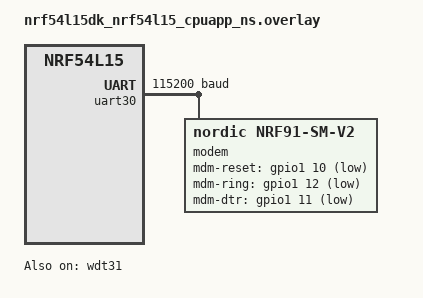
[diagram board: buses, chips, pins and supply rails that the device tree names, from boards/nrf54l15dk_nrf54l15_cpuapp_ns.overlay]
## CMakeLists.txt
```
#
# Copyright (c) 2026 Nordic Semiconductor ASA
#
# SPDX-License-Identifier: LicenseRef-Nordic-5-Clause
#

cmake_minimum_required(VERSION 3.20.0)

# Bundled nrf91-sm driver (see drivers/nrf91-sm/).
set(NRF91SM_DRIVER_DIR ${CMAKE_CURRENT_SOURCE_DIR}/drivers/nrf91-sm)
list(APPEND EXTRA_ZEPHYR_MODULES ${NRF91SM_DRIVER_DIR})

find_package(Zephyr REQUIRED HINTS $ENV{ZEPHYR_BASE})
project("Serial Modem Host - 91m1 PPP")

# Memfault CoAP includes unused nRF91 modem headers. Provide stubs on host MCU builds.
if(CONFIG_MEMFAULT_USE_NRF_CLOUD_COAP AND NOT CONFIG_NRF_MODEM_LIB)
	set(MEMFAULT_MODEM_SHIM ${CMAKE_CURRENT_SOURCE_DIR}/cmake/memfault-modem-shim)
	set(MEMFAULT_LIB_TARGET ..__modules__lib__memfault-firmware-sdk__ports__zephyr)
	if(TARGET ${MEMFAULT_LIB_TARGET})
		target_include_directories(${MEMFAULT_LIB_TARGET} BEFORE PRIVATE ${MEMFAULT_MODEM_SHIM})
	endif()
endif()

set(SMHA_LIB_DIR ${CMAKE_CURRENT_SOURCE_DIR}/../../lib)

zephyr_include_directories(
	${SMHA_LIB_DIR}/include
	${CMAKE_CURRENT_SOURCE_DIR}/src
)

target_sources(app PRIVATE
	src/main.c
	src/modem_reset.c
	src/modules/network/network.c
	src/modules/cloud/cloud.c
)

target_sources_ifdef(CONFIG_SHELL app PRIVATE src/modules/network/network_shell.c)
target_sources_ifdef(CONFIG_APP_MODEM_AT app PRIVATE src/modules/modem_at/modem_at.c)
target_sources_ifdef(CONFIG_APP_MODEM_AT_SHELL app PRIVATE src/modules/modem_at/modem_at_shell.c)
target_sources_ifdef(CONFIG_APP_FOTA app PRIVATE src/modules/fota/fota.c)
target_sources_ifdef(CONFIG_APP_FOTA_SHELL app PRIVATE src/modules/fota/fota_shell.c)
target_sources_ifdef(CONFIG_APP_LOCATION app PRIVATE
	src/modules/location/location.c
	src/modules/cloud/cloud_location.c
)
```

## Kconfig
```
#
# Copyright (c) 2026 Nordic Semiconductor ASA
#
# SPDX-License-Identifier: LicenseRef-Nordic-5-Clause
#

menu "Serial Modem Host 91m1_ppp"

rsource "src/Kconfig.main"
rsource "src/modules/network/Kconfig.network"
rsource "src/modules/cloud/Kconfig.cloud"
rsource "src/modules/fota/Kconfig.fota"
rsource "src/modules/modem_at/Kconfig.modem_at"
rsource "src/modules/location/Kconfig.location"

# Redefine symbol due to it being dependent on nRF Modem Library in the original definition.
config MEMFAULT_USE_NRF_CLOUD_COAP
	bool "Use nRF Cloud CoAP for device communication"
	default y

endmenu

menu "Zephyr Kernel"

# Keep Memfault-reported software_version aligned with the application VERSION file
# and the MCUboot image header (see Memfault NCS integration guide).
config MEMFAULT_NCS_FW_VERSION
	default "$(APP_VERSION_TWEAK_STRING)"

config MCUBOOT_IMGTOOL_SIGN_VERSION
	default MEMFAULT_NCS_FW_VERSION

source "Kconfig.zephyr"
endmenu
```

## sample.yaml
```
sample:
  name: Serial Modem Host 91m1 PPP
  description: Host application for nRF91M1 Smart Modem.
tests:
  serial_modem_host.applications.91m1_ppp.nrf54l15:
    sysbuild: true
    build_only: true
    integration_platforms:
      - nrf54l15dk/nrf54l15/cpuapp/ns
    platform_allow:
      - nrf54l15dk/nrf54l15/cpuapp/ns
    tags:
      - ci_build
  serial_modem_host.applications.91m1_ppp.nrf54lm20b:
    sysbuild: true
    build_only: true
    integration_platforms:
      - nrf54lm20dk/nrf54lm20b/cpuapp/ns
    platform_allow:
      - nrf54lm20dk/nrf54lm20b/cpuapp/ns
    tags:
      - ci_build
  serial_modem_host.applications.91m1_ppp.nrf54lm20b.location:
    sysbuild: true
    build_only: true
    integration_platforms:
      - nrf54lm20dk/nrf54lm20b/cpuapp/ns
    platform_allow:
      - nrf54lm20dk/nrf54lm20b/cpuapp/ns
    extra_args:
      - SHIELD=nrf7002eb2
      - EXTRA_CONF_FILE=overlay-location.conf
      - SB_EXTRA_CONF_FILE=sysbuild-location.conf
    tags:
      - ci_build
```

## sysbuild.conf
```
#
# Copyright (c) 2026 Nordic Semiconductor ASA
#
# SPDX-License-Identifier: LicenseRef-Nordic-5-Clause
#

# Use devicetree partitions (see boards/nrf54l15_cpuapp_mcuboot_partitions.dtsi).
SB_CONFIG_PARTITION_MANAGER=n
SB_CONFIG_BOOTLOADER_MCUBOOT=y
SB_CONFIG_MERGED_HEX_FILES=y
```

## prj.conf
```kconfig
#
# Copyright (c) 2026 Nordic Semiconductor ASA
#
# SPDX-License-Identifier: LicenseRef-Nordic-5-Clause
#

# --- General -------------------------------------------------------------------

CONFIG_NCS_APPLICATION_BOOT_BANNER_STRING="Serial Modem Host 91m1"
CONFIG_NCS_SAMPLES_DEFAULTS=y
CONFIG_RESET_ON_FATAL_ERROR=n
CONFIG_REBOOT=y
CONFIG_USE_DT_CODE_PARTITION=y

# MCUboot (primary on RRAM, secondary on external mx25r64)
CONFIG_BOOTLOADER_MCUBOOT=y
CONFIG_IMG_MANAGER=y
CONFIG_MCUBOOT_IMG_MANAGER=y
CONFIG_FLASH=y
CONFIG_FLASH_MAP=y
CONFIG_SPI=y
CONFIG_SPI_NOR=y
CONFIG_SPI_NOR_SFDP_DEVICETREE=y
CONFIG_SPI_NOR_FLASH_LAYOUT_PAGE_SIZE=4096
CONFIG_STREAM_FLASH=y
CONFIG_STREAM_FLASH_ERASE=y
CONFIG_MPU_ALLOW_FLASH_WRITE=y

CONFIG_FPU=y
CONFIG_PICOLIBC_IO_FLOAT=y

# --- Logging -------------------------------------------------------------------

CONFIG_LOG=y
CONFIG_LOG_MODE_DEFERRED=y
CONFIG_LOG_BUFFER_SIZE=4096

# --- RTOS / application framework ----------------------------------------------

CONFIG_ZBUS=y
CONFIG_ZBUS_MSG_SUBSCRIBER=y
# Every publish pins one net_buf per message subscriber until that module's thread
# dequeues it, and the pool is shared by all channels. A cloud request takes seconds
# over LTE, so Zephyr's default of 16 leaves room for only a couple of unserviced
# synchronisation cycles before a publish fails with -ENOMEM.
CONFIG_ZBUS_MSG_SUBSCRIBER_NET_BUF_POOL_SIZE=64
# Name channels and observers so a delivery failure says which ones were involved.
CONFIG_ZBUS_CHANNEL_NAME=y
CONFIG_ZBUS_OBSERVER_NAME=y
CONFIG_SMF=y
CONFIG_SMF_ANCESTOR_SUPPORT=y
CONFIG_SMF_INITIAL_TRANSITION=y
CONFIG_TASK_WDT=y
# Back the task watchdog with the non-secure hardware watchdog (wdt31, aliased watchdog0)
# as a fallback in case the task watchdog itself gets stuck.
CONFIG_WATCHDOG=y
CONFIG_TASK_WDT_MIN_TIMEOUT=10000

CONFIG_TEST_RANDOM_GENERATOR=y

# --- Heap and stacks -----------------------------------------------------------

CONFIG_HEAP_MEM_POOL_SIZE=16384
CONFIG_MAIN_STACK_SIZE=4096
CONFIG_SYSTEM_WORKQUEUE_STACK_SIZE=3072

# --- Application modules -------------------------------------------------------

CONFIG_APP_NETWORK=y
CONFIG_APP_NETWORK_LOG_LEVEL_DBG=y

CONFIG_APP_CLOUD=y
CONFIG_APP_CLOUD_LOG_LEVEL_DBG=y

CONFIG_APP_FOTA=y
CONFIG_APP_FOTA_SHELL=y
CONFIG_APP_FOTA_LOG_LEVEL_DBG=y

# --- Networking (PPP + conn_mgr) -----------------------------------------------

CONFIG_NETWORKING=y
CONFIG_NET_NATIVE=y
CONFIG_NET_L2_PPP=y
CONFIG_NET_L2_ETHERNET=n
CONFIG_NET_IPV4=y
CONFIG_NET_IPV6=n
CONFIG_NET_UDP=y
CONFIG_NET_TCP=y
CONFIG_NET_SOCKETS=y
CONFIG_NET_CONTEXT_RCVTIMEO=y
CONFIG_NET_MAX_CONN=12
CONFIG_NET_MAX_CONTEXTS=12
CONFIG_ZVFS_POLL_MAX=20
CONFIG_ZVFS_OPEN_MAX=20

CONFIG_NET_PKT_RX_COUNT=24
CONFIG_NET_PKT_TX_COUNT=24
CONFIG_NET_BUF_RX_COUNT=48
CONFIG_NET_BUF_TX_COUNT=48

CONFIG_DNS_RESOLVER=y
CONFIG_NET_SOCKETS_DNS_TIMEOUT=10000
CONFIG_DNS_RESOLVER_AI_MAX_ENTRIES=8
CONFIG_DNS_NUM_CONCUR_QUERIES=4
CONFIG_DNS_RESOLVER_MAX_SERVERS=4
CONFIG_DNS_SERVER_IP_ADDRESSES=y
CONFIG_DNS_SERVER1="8.8.8.8"
CONFIG_DNS_SERVER2="1.1.1.1"
CONFIG_NET_L2_PPP_OPTION_DNS_USE=y

CONFIG_NET_MGMT=y
CONFIG_NET_MGMT_EVENT=y
CONFIG_NET_CONNECTION_MANAGER=y
CONFIG_NET_CONNECTION_MANAGER_MONITOR_STACK_SIZE=512
CONFIG_NET_MGMT_EVENT_STACK_SIZE=800

# --- Cellular modem (nordic,nrf91-sm-v2; UART instance set in board overlay) ----

CONFIG_MODEM=y
CONFIG_MODEM_CELLULAR=y
CONFIG_MODEM_DEDICATED_WORKQUEUE=y
CONFIG_PM_DEVICE=y
CONFIG_PM_DEVICE_RUNTIME=y
CONFIG_PM_DEVICE_RUNTIME_USE_DEDICATED_WQ=y
CONFIG_MODEM_CMUX_MTU=127
CONFIG_MODEM_CMUX_WORK_BUFFER_SIZE_EXTRA=532
CONFIG_MODEM_CELLULAR_UART_BUFFER_SIZES=532

# `at "<command>"` over the user AT pipe (DLCI 3). Used to reach Serial Modem
# commands that have no host-side equivalent, such as AT#XLOG=1 to resume the
# modem log UART, which Serial Modem suspends after init to save power.
#
# App owns the user AT pipe (DLCI 3) via APP_MODEM_AT; stock AT shell off. The
# in-tree CONFIG_MODEM_AT_SHELL releases the pipe from its async script callback,
# which runs on the modem workqueue and calls modem_chat_release() ->
# k_work_cancel_sync() on that same workqueue's receive work: a self-deadlock
# that wedges CMUX and takes the PPP/CoAP link down. APP_MODEM_AT runs the script
# synchronously and releases from the caller thread instead.
CONFIG_APP_MODEM_AT=y
CONFIG_APP_MODEM_AT_LOG_LEVEL_ERR=y
CONFIG_MODEM_AT_SHELL=n
CONFIG_MODEM_AT_USER_PIPE_IDX=0

# --- Shell and TLS credentials -------------------------------------------------

CONFIG_SHELL=y
CONFIG_SHELL_STACK_SIZE=4096
# Off so shell wildcard expansion does not mangle `?`/`*` in AT commands.
CONFIG_SHELL_WILDCARD=n
# Kernel shell with thread introspection. The `kernel thread suspend` command is used by
# the on-target software-watchdog test to stall a monitored thread and trip its watchdog.
CONFIG_KERNEL_SHELL=y
CONFIG_THREAD_MONITOR=y
CONFIG_THREAD_NAME=y
CONFIG_NET_SHELL=y
CONFIG_TLS_CREDENTIALS=y
CONFIG_TLS_CREDENTIALS_SHELL=y
CONFIG_TLS_CREDENTIALS_SHELL_CRED_BUF_SIZE=3072
CONFIG_TLS_CREDENTIALS_BACKEND_PROTECTED_STORAGE=y
# nRF Cloud credentials (CA, client cert, private key) in protected storage.
CONFIG_TLS_MAX_CREDENTIALS_NUMBER=4
CONFIG_TFM_PARTITION_PROTECTED_STORAGE=y
CONFIG_BASE64=y
CONFIG_SETTINGS=y
CONFIG_SETTINGS_NVS=y
CONFIG_NVS=y

# --- nRF Cloud CoAP (host-native over PPP) -------------------------------------

CONFIG_NRF_CLOUD=y
CONFIG_NRF_CLOUD_COAP=y
CONFIG_NRF_CLOUD_COAP_DOWNLOADS=y
CONFIG_NRF_CLOUD_CHECK_CREDENTIALS=y
CONFIG_NRF_CLOUD_CREDENTIALS_MGMT_TLS_CRED=y
CONFIG_NRF_CLOUD_JWT_SOURCE_CUSTOM=y

CONFIG_HW_ID_LIBRARY=y
CONFIG_HW_ID_LIBRARY_SOURCE_DEVICE_ID=y
CONFIG_NRF_CLOUD_CLIENT_ID_SRC_HW_ID=y

CONFIG_COAP_CLIENT_BLOCK_SIZE=1024
CONFIG_COAP_CLIENT_STACK_SIZE=4096
CONFIG_COAP_CLIENT_THREAD_PRIORITY=0
CONFIG_COAP_EXTENDED_OPTIONS_LEN_VALUE=192
CONFIG_NRF_CLOUD_COAP_MAX_USER_OPTIONS=2
CONFIG_COAP_CLIENT_MAX_EXTRA_OPTIONS=3

# nrf_cloud_coap serialises every request behind one mutex and waits for the CoAP
# client to exhaust its retransmissions, so a dropped confirmable request blocks
# the whole application. The default budget (2 s, doubling, 4 retransmissions,
# 1.5x jitter) reaches ~93 s, far longer than the cloud synchronisation period.
# ZBUS_MSG_SUBSCRIBER_NET_BUF_POOL_SIZE=64 above gives headroom for a few blocked
# cycles; two retransmissions cap that wait at ~21 s. FOTA block downloads use the
# downloader CoAP transport, which keeps its own retransmission budget.
CONFIG_COAP_MAX_RETRANSMIT=2

CONFIG_DATE_TIME=y
CONFIG_DATE_TIME_NTP=y
CONFIG_DATE_TIME_RETRY_COUNT=3

# --- Memfault ------------------------------------------------------------------

# Memfault depends on POSIX, disable unneeded POSIX features
CONFIG_POSIX_FILE_SYSTEM=n

# Memfault
CONFIG_MEMFAULT=y
CONFIG_MEMFAULT_NCS_FW_TYPE="smha-91m1"
CONFIG_MEMFAULT_NCS_FW_VERSION_STATIC=y
CONFIG_MEMFAULT_SHELL=y
CONFIG_MEMFAULT_PERIODIC_UPLOAD=n
CONFIG_MEMFAULT_LOGGING_ENABLE=y
CONFIG_MEMFAULT_LOGGING_RAM_SIZE=2048
CONFIG_MEMFAULT_NCS_STACK_METRICS=y
CONFIG_MEMFAULT_HEAP_STATS=y

# Upload Memfault data via nRF Cloud CoAP (reuses the cloud DTLS session + host JWT).
CONFIG_MEMFAULT_USE_NRF_CLOUD_COAP=y
CONFIG_MEMFAULT_HTTP_ENABLE=n

# Capture the active stack, kernel state and thread stacks (enough for a
# symbolicated, thread-aware backtrace) but skip .bss: collecting all of it
# overflows the RAM-backed buffer, which Memfault reports as "Coredump storage
# too small".

# RAM-backed coredump. The RRAM backend is unusable here: it depends on
# NRFX_RRAMC and pokes RRAMC registers directly, and TF-M owns that peripheral
# in non-secure builds. Sized to hold the collected regions without truncation;
# confirm with `mflt coredump_size` if regions change. nRF54L15 has no RAM to
# spare for a bigger buffer, so boards that do raise this option does so in their own .conf.
CONFIG_MEMFAULT_RAM_BACKED_COREDUMP_SIZE=8192
CONFIG_PSA_WANT_ALG_SHA_1=y

# FOTA (Memfault OTA via nRF Cloud CoAP download proxy)
CONFIG_MEMFAULT_ZEPHYR_FOTA_BACKEND_NRF_CLOUD_OVERRIDE=y
CONFIG_NRF_CLOUD_FOTA=n
CONFIG_NRF_CLOUD_FOTA_POLL=y
CONFIG_DOWNLOADER=y
CONFIG_DOWNLOADER_TRANSPORT_COAP=y
CONFIG_DOWNLOADER_TRANSPORT_HTTP=n
CONFIG_DOWNLOADER_STACK_SIZE=4096
CONFIG_DOWNLOADER_MAX_FILENAME_SIZE=512
CONFIG_FOTA_DOWNLOAD=y
CONFIG_FOTA_DOWNLOAD_PROGRESS_EVT=y
CONFIG_FOTA_SOCKET_RETRIES=10
CONFIG_DFU_TARGET=y
CONFIG_DFU_TARGET_MCUBOOT=y
CONFIG_FOTA_DOWNLOAD_LOG_LEVEL_INF=y

# --- Crypto (host JWT signing + CoAP DTLS over native sockets) -----------------

CONFIG_NET_SOCKETS_SOCKOPT_TLS=y
CONFIG_NET_SOCKETS_ENABLE_DTLS=y
CONFIG_NET_SOCKETS_TLS_MAX_CONTEXTS=2
CONFIG_NET_SOCKETS_TLS_MAX_CREDENTIALS=4
CONFIG_MBEDTLS_SSL_DTLS_CONNECTION_ID=y
CONFIG_MBEDTLS_SSL_SERVER_NAME_INDICATION=y
CONFIG_MBEDTLS_SSL_IN_CONTENT_LEN=2048
CONFIG_MBEDTLS_SSL_OUT_CONTENT_LEN=2048
CONFIG_MBEDTLS_PEM_PARSE_C=y
CONFIG_MBEDTLS_DECLARE_PRIVATE_IDENTIFIERS=y
# ECC crypto via PSA.
CONFIG_PSA_WANT_ALG_ECDH=y
CONFIG_PSA_WANT_ALG_ECDSA=y
CONFIG_PSA_WANT_ECC_SECP_R1_256=y
CONFIG_PSA_WANT_ECC_SECP_R1_384=y
CONFIG_PSA_WANT_KEY_TYPE_ECC_KEY_PAIR_EXPORT=y
CONFIG_PSA_WANT_KEY_TYPE_ECC_KEY_PAIR_GENERATE=y
CONFIG_PSA_WANT_KEY_TYPE_ECC_KEY_PAIR_DERIVE=y
# RSA verification for the nRF Cloud CA chain.
CONFIG_PSA_WANT_ALG_RSA_PKCS1V15_SIGN=y
CONFIG_PSA_WANT_KEY_TYPE_RSA_PUBLIC_KEY=y
# RSA key pair type for the ECDHE-RSA download ciphersuite.
CONFIG_PSA_WANT_KEY_TYPE_RSA_KEY_PAIR_IMPORT=y

CONFIG_MBEDTLS=y
CONFIG_MBEDTLS_ENABLE_HEAP=y
CONFIG_MBEDTLS_HEAP_SIZE=24576
```

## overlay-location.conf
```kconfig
#
# Copyright (c) 2026 Nordic Semiconductor ASA
#
# SPDX-License-Identifier: LicenseRef-Nordic-5-Clause
#
# Wi-Fi based location using the nRF7002-EB2 shield. Requires the matching
# sysbuild overlay to build the nRF70 driver in scan only mode:
#
#   west build -b nrf54lm20dk/nrf54lm20b/cpuapp/ns -p -- \
#       -DSHIELD=nrf7002eb2 \
#       -DEXTRA_CONF_FILE=overlay-location.conf \
#       -DSB_EXTRA_CONF_FILE=sysbuild-location.conf

# EB2 shield build; console already on uart30 (VCOM0) from the board overlay.
CONFIG_UART_30_INTERRUPT_DRIVEN=y
CONFIG_UART_30_ASYNC=n

# --- Wi-Fi (nRF7002-EB2, scan only) --------------------------------------------

# The nRF70 driver itself is enabled from sysbuild, see sysbuild-location.conf.
CONFIG_WIFI=y
CONFIG_WIFI_NM_WPA_SUPPLICANT=n
CONFIG_WIFI_NRF70_SKIP_LOCAL_ADMIN_MAC=y
# Keep aligned with CONFIG_LOCATION_METHOD_WIFI_SCANNING_RESULTS_MAX_CNT.
CONFIG_NRF_WIFI_SCAN_MAX_BSS_CNT=10
CONFIG_NRF_WIFI_CTRL_HEAP_SIZE=10240
CONFIG_HEAP_MEM_POOL_SIZE=28672

# The nRF70 interface is an Ethernet L2 interface. PPP remains the default
# interface so that sockets keep using the Serial Modem.
CONFIG_NET_L2_ETHERNET=y
CONFIG_NET_DEFAULT_IF_PPP=y

# One IPv4 config slot per interface. The slots are handed out in interface
# registration order, so with the default of 1 the Wi-Fi interface takes the
# only slot and PPP never gets an address from IPCP.
CONFIG_NET_IF_MAX_IPV4_COUNT=2

# Wi-Fi scan results are delivered as network management events.
CONFIG_NET_MGMT_EVENT_QUEUE_SIZE=16
CONFIG_NET_MGMT_EVENT_STACK_SIZE=2048

# --- Location (Wi-Fi positioning via nRF Cloud) --------------------------------

CONFIG_LOCATION=y
CONFIG_LOCATION_METHOD_WIFI=y
CONFIG_LOCATION_SERVICE_EXTERNAL=y
CONFIG_LOCATION_METHOD_WIFI_SCANNING_RESULTS_MAX_CNT=10
CONFIG_LOCATION_REQUEST_DEFAULT_WIFI_TIMEOUT=30000
CONFIG_APP_LOCATION_LOG_LEVEL_DBG=y
```

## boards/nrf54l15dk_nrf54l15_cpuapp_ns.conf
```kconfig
#
# Copyright (c) 2026 Nordic Semiconductor ASA
#
# SPDX-License-Identifier: LicenseRef-Nordic-5-Clause
#

CONFIG_UART_ASYNC_API=y
CONFIG_MODEM_BACKEND_UART_ASYNC_HWFC=y

# Shell/console on uart20 uses interrupt-driven UART; modem on uart30 is async-only.
CONFIG_UART_30_INTERRUPT_DRIVEN=n
CONFIG_UART_30_ASYNC=y

# Silence TF-M logs to avoid conflicts with modem UART.
CONFIG_TFM_LOG_LEVEL_SILENCE=y

CONFIG_MODEM_CMUX_MSC_FC_THRESHOLD=32

# SFN + MM-IOVEC reduce secure-side RAM; ITS encryption
# is disabled because credentials live in Protected Storage, not ITS.
CONFIG_TFM_SFN=y
CONFIG_TFM_IPC=n
CONFIG_TFM_PSA_FRAMEWORK_HAS_MM_IOVEC=y
CONFIG_TFM_ITS_ENCRYPTED=n

# TF-M FLASH/RAM sizes come from the devicetree secure partitions
# (slot0_s_partition and sram0_s in boards/nrf54l15_cpuapp_ns_partitions.dtsi).
```

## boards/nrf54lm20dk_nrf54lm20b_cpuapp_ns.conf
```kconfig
#
# Copyright (c) 2026 Nordic Semiconductor ASA
#
# SPDX-License-Identifier: LicenseRef-Nordic-5-Clause
#
# nRF54LM20B DK: console on uart30 (VCOM0), modem on uart21.

CONFIG_UART_ASYNC_API=y
CONFIG_MODEM_BACKEND_UART_ASYNC_HWFC=y

# Shell/console on uart30 uses interrupt-driven UART; modem on uart21 is async-only.
CONFIG_UART_30_INTERRUPT_DRIVEN=y
CONFIG_UART_21_INTERRUPT_DRIVEN=n
CONFIG_UART_21_ASYNC=y

CONFIG_TFM_LOG_LEVEL_SILENCE=y

CONFIG_MODEM_CMUX_MSC_FC_THRESHOLD=32
CONFIG_MODEM_MODULES_LOG_LEVEL_WRN=y
CONFIG_LOG_BUFFER_SIZE=8192

CONFIG_TFM_SFN=y
CONFIG_TFM_IPC=n
CONFIG_TFM_PSA_FRAMEWORK_HAS_MM_IOVEC=y
CONFIG_TFM_ITS_ENCRYPTED=n

# TF-M FLASH/RAM sizes come from the devicetree secure partitions
# (slot0_s_partition and sram0_s in boards/nrf54lm20_cpuapp_ns_partitions.dtsi).

# The NCS default hardware version is the board name, but "nrf54lm20dk" is already
# bound to another software type in the shared Memfault project, which makes it reject
# OTA payloads for "smha-91m1". Namespace the hardware version to keep FOTA working.
CONFIG_MEMFAULT_NCS_HW_VERSION="smha-nrf54lm20dk"

# Increase the RAM-backed coredump buffer to avoid truncating thread stacks in coredumps.
CONFIG_MEMFAULT_RAM_BACKED_COREDUMP_SIZE=32768
```

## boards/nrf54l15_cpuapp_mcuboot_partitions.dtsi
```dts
/*
 * Copyright (c) 2026 Nordic Semiconductor ASA
 *
 * SPDX-License-Identifier: LicenseRef-Nordic-5-Clause
 *
 * RRAM layout (cpuapp_rram, 1.5 MiB internal):
 * |
 * +-- 0x0000_0000 boot_partition              (  64 KiB) MCUboot
 * |
 * +-- 0x0001_0000 slot0_partition             (1356 KiB) image-0
 * |   +-- 0x0001_0000 slot0_s_partition       ( 128 KiB) TF-M secure
 * |   +-- 0x0003_0000 slot0_ns_partition      (1232 KiB) Zephyr/app non-secure
 * |
 * +-- 0x0016_3000 storage_partition           (  40 KiB) Zephyr settings
 * +-- 0x0016_d000 memfault_coredump_partition (  32 KiB) Memfault coredump (RRAM)
 * |
 * +-- 0x0017_5000 tfm_storage_partition       (  32 KiB) TF-M storage
 * |   +-- 0x0017_5000 tfm_its_partition       (   8 KiB) TF-M ITS
 * |   +-- 0x0017_7000 tfm_otp_partition       (   8 KiB) TF-M OTP
 * |   +-- 0x0017_9000 tfm_ps_partition        (  16 KiB) TF-M PS
 * |
 * +-- 0x0017_d000 (reserved, unused)          (  12 KiB) free at end of RRAM
 *
 * External flash layout (mx25r64, 8 MiB):
 * |
 * +-- 0x0000_0000 slot1_partition             (1356 KiB) image-1 (matches slot0 for MCUboot)
 * +-- 0x0015_3000 (remaining flash)           (~6.6 MiB) unused external flash
 *
 * Include after deleting the board default partition nodes.
 */

&cpuapp_rram {
	partitions {
		ranges;
		#address-cells = <1>;
		#size-cells = <1>;

		boot_partition: partition@0 {
			compatible = "zephyr,mapped-partition";
			label = "mcuboot";
			reg = <0x0 0x10000>;
		};

		slot0_partition: partition@10000 {
			compatible = "zephyr,mapped-partition";
			label = "image-0";
			reg = <0x10000 0x153000>;
			ranges = <0x0 0x10000 0x153000>;
			#address-cells = <1>;
			#size-cells = <1>;

			slot0_s_partition: partition@0 {
				compatible = "zephyr,mapped-partition";
				label = "image-0-secure";
				reg = <0x0 0x20000>;
			};

			slot0_ns_partition: partition@20000 {
				compatible = "zephyr,mapped-partition";
				label = "image-0-nonsecure";
				reg = <0x20000 0x133000>;
			};
		};

		storage_partition: partition@163000 {
			compatible = "zephyr,mapped-partition";
			label = "storage";
			reg = <0x163000 DT_SIZE_K(40)>;
		};

		memfault_coredump_partition: partition@16d000 {
			compatible = "zephyr,mapped-partition";
			label = "memfault_coredump_partition";
			reg = <0x16d000 DT_SIZE_K(32)>;
		};

		tfm_storage_partition: partition@175000 {
			compatible = "zephyr,mapped-partition";
			label = "tfm-storage";
			reg = <0x175000 DT_SIZE_K(32)>;
			ranges = <0x0 0x175000 DT_SIZE_K(32)>;
			#address-cells = <1>;
			#size-cells = <1>;

			tfm_its_partition: partition@0 {
				compatible = "zephyr,mapped-partition";
				label = "tfm-its";
				reg = <0x0 DT_SIZE_K(8)>;
			};

			tfm_otp_partition: partition@2000 {
				compatible = "zephyr,mapped-partition";
				label = "tfm-otp";
				reg = <0x2000 DT_SIZE_K(8)>;
			};

			tfm_ps_partition: partition@4000 {
				compatible = "zephyr,mapped-partition";
				label = "tfm-ps";
				reg = <0x4000 DT_SIZE_K(16)>;
			};
		};
	};
};

&mx25r64 {
	status = "okay";

	partitions {
		compatible = "fixed-partitions";
		#address-cells = <1>;
		#size-cells = <1>;

		slot1_partition: partition@0 {
			label = "image-1";
			reg = <0x0 0x153000>;
		};
	};
};
```

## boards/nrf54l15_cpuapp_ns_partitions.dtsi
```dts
/*
 * Copyright (c) 2026 Nordic Semiconductor ASA
 *
 * SPDX-License-Identifier: LicenseRef-Nordic-5-Clause
 *
 * SRAM layout (cpuapp_sram, 256 KiB):
 * |
 * +-- 0x0000_0000 sram0_s                     (  48 KiB) TF-M secure
 * +-- 0x0000_c000 sram0_ns                    ( 208 KiB) Zephyr/app non-secure
 *
 * RRAM and external flash layout: see nrf54l15_cpuapp_mcuboot_partitions.dtsi.
 * Memory-optimized SFN TF-M sizing (see board conf).
 */

/delete-node/ &slot0_partition;
/delete-node/ &storage_partition;
/delete-node/ &slot0_ns_partition;
/delete-node/ &tfm_its_partition;
/delete-node/ &tfm_otp_partition;
/delete-node/ &tfm_ps_partition;
/delete-node/ &sram0_s;
/delete-node/ &sram0_ns;

#include "nrf54l15_cpuapp_mcuboot_partitions.dtsi"

&cpuapp_sram {
	sram0_s: image_s@0 {
		#address-cells = <1>;
		#size-cells = <1>;
		reg = <0x0 0xC000>;
		ranges = <0x0 0x0 0xC000>;
	};

	sram0_ns: image_ns@c000 {
		#address-cells = <1>;
		#size-cells = <1>;
		reg = <0xC000 0x34000>;
		ranges = <0x0 0xC000 0x34000>;
	};
};
```

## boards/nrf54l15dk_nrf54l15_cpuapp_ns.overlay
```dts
/*
 * Copyright (c) 2026 Nordic Semiconductor ASA
 *
 * SPDX-License-Identifier: LicenseRef-Nordic-5-Clause
 *
 * Based on ncs-serial-modem samples/sm_ppp_shell for nRF54L15 DK + nRF9151 DK.
 * Disable VCOM0 in Board Configurator to release uart30 (P0 connector).
 *
 * Two-DK wiring (in addition to UART/DTR/RI from sm_ppp_shell):
 *   nRF54L15 P1.10 (modem reset out) -> nRF9151 DK P5 pin 5 (RESET)
 *   Set matching VDD on both DKs in Board Configurator (typically 1.8 V).
 *
 * RRAM/SRAM partitions: nrf54l15_cpuapp_ns_partitions.dtsi (MCUboot + TF-M).
 */

#include "nrf54l15_cpuapp_ns_partitions.dtsi"

/ {
	chosen {
		zephyr,console = &uart20;
		zephyr,shell-uart = &uart20;
		nordic,pm-ext-flash = &mx25r64;
	};
	aliases {
		modem = &modem;
	};
};

&uart30 {
	status = "okay";
	current-speed = <115200>;
	hw-flow-control;
	zephyr,pm-device-runtime-auto;

	modem: modem {
		compatible = "nordic,nrf91-sm-v2";
		status = "okay";
		mdm-reset-gpios = <&gpio1 10 (GPIO_ACTIVE_LOW | GPIO_OPEN_DRAIN)>;
		mdm-ring-gpios = <&gpio1 12 (GPIO_ACTIVE_LOW | GPIO_PULL_UP)>;
		mdm-dtr-gpios = <&gpio1 11 GPIO_ACTIVE_LOW>;
		zephyr,pm-device-runtime-auto;
		autostarts;
	};
};

&gpio1 {
	status = "okay";
};

/* Non-secure hardware watchdog, fallback for CONFIG_TASK_WDT_HW_FALLBACK. */
&wdt31 {
	status = "okay";
};
```

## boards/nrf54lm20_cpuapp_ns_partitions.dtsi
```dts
/*
 * Copyright (c) 2026 Nordic Semiconductor ASA
 *
 * SPDX-License-Identifier: LicenseRef-Nordic-5-Clause
 *
 * SRAM layout (cpuapp_sram, 508 KiB usable):
 * |
 * +-- 0x0000_0000 sram0_s                     (  48 KiB) TF-M secure
 * +-- 0x0000_c000 sram0_ns                    ( 460 KiB) Zephyr/app non-secure
 *
 * RRAM and external flash layout: see nrf54lm20_cpuapp_mcuboot_partitions.dtsi.
 * Memory-optimized SFN TF-M sizing (see board conf).
 */

/delete-node/ &slot0_s_partition;
/delete-node/ &storage_partition;
/delete-node/ &slot0_ns_partition;
/delete-node/ &tfm_its_partition;
/delete-node/ &tfm_otp_partition;
/delete-node/ &tfm_ps_partition;
/delete-node/ &sram0_s;
/delete-node/ &sram0_ns;

#include "nrf54lm20_cpuapp_mcuboot_partitions.dtsi"

&cpuapp_sram {
	reg = <0x20000000 0x7fe40>;
	ranges = <0x0 0x20000000 0x7fe40>;

	sram0_s: image_s@0 {
		#address-cells = <1>;
		#size-cells = <1>;
		reg = <0x0 0xC000>;
		ranges = <0x0 0x0 0xC000>;
	};

	sram0_ns: image_ns@c000 {
		#address-cells = <1>;
		#size-cells = <1>;
		reg = <0xC000 0x73e40>;
		ranges = <0x0 0xC000 0x73e40>;
	};
};
```

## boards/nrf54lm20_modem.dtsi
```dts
/*
 * Copyright (c) 2026 Nordic Semiconductor ASA
 *
 * SPDX-License-Identifier: LicenseRef-Nordic-5-Clause
 *
 * Shared Serial Modem child node for nRF54LM20B DK + nRF9151 DK wiring.
 * Control signals on P1 connector; UART instance is set by the board overlay.
 */

modem: modem {
	compatible = "nordic,nrf91-sm-v2";
	status = "okay";
	mdm-reset-gpios = <&gpio1 10 (GPIO_ACTIVE_LOW | GPIO_OPEN_DRAIN)>;
	mdm-ring-gpios = <&gpio1 12 (GPIO_ACTIVE_LOW | GPIO_PULL_UP)>;
	mdm-dtr-gpios = <&gpio1 11 GPIO_ACTIVE_LOW>;
	zephyr,pm-device-runtime-auto;
	cmux-enable-runtime-power-save;
	cmux-close-pipe-on-power-save;
	cmux-idle-timeout-ms = <5000>;
	autostarts;
};
```

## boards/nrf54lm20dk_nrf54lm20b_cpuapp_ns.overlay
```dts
/*
 * Copyright (c) 2026 Nordic Semiconductor ASA
 *
 * SPDX-License-Identifier: LicenseRef-Nordic-5-Clause
 *
 * nRF54LM20B DK + nRF9151 DK.
 *
 * Default build (no shield):
 *   west build -b nrf54lm20dk/nrf54lm20b/cpuapp/ns -p
 *
 * Console uses uart30 (VCOM0) so plain and nRF7002-EB2 builds share the same
 * USB serial port. Modem stays on uart21 (P1).
 *
 * The Serial Modem link uses uart21 on P1.8–P1.9 (TX/RX) and P1.23–P1.24
 * (RTS/CTS). DTR/RI/reset use P1.11/P1.12/P1.10 (conflict with DK default
 * uart21 HWFC).
 *
 * With nRF7002-EB2 on P18 (Wi-Fi location), pass -DSHIELD=nrf7002eb2 and disable
 * VCOM1 in Board Configurator (uart20 pins conflict with the shield).
 *
 * Set matching VDD on both DKs (typically 1.8 V).
 *
 * Wiring: see docs/getting-started/91m1-ppp.md.
 *
 * RRAM/SRAM partitions: nrf54lm20_cpuapp_ns_partitions.dtsi (MCUboot + TF-M).
 */

#include "nrf54lm20_cpuapp_ns_partitions.dtsi"

/ {
	chosen {
		zephyr,console = &uart30;
		zephyr,shell-uart = &uart30;
		nordic,pm-ext-flash = &mx25r64;
	};

	aliases {
		modem = &modem;
	};
};

&uart30 {
	status = "okay";
	current-speed = <115200>;
};

&pinctrl {
	uart21_default: uart21_default {
		group1 {
			psels = <NRF_PSEL(UART_TX, 1, 8)>,
				<NRF_PSEL(UART_RTS, 1, 23)>;
		};

		group2 {
			psels = <NRF_PSEL(UART_RX, 1, 9)>,
				<NRF_PSEL(UART_CTS, 1, 24)>;
			bias-pull-up;
		};
	};

	uart21_sleep: uart21_sleep {
		group1 {
			psels = <NRF_PSEL(UART_TX, 1, 8)>,
				<NRF_PSEL(UART_RX, 1, 9)>,
				<NRF_PSEL(UART_RTS, 1, 23)>,
				<NRF_PSEL(UART_CTS, 1, 24)>;
			low-power-enable;
		};
	};
};

&uart21 {
	status = "okay";
	current-speed = <115200>;
	pinctrl-0 = <&uart21_default>;
	pinctrl-1 = <&uart21_sleep>;
	pinctrl-names = "default", "sleep";
	hw-flow-control;
	zephyr,pm-device-runtime-auto;

	#include "nrf54lm20_modem.dtsi"
};

&gpio1 {
	status = "okay";
};

/* Non-secure hardware watchdog, fallback for CONFIG_TASK_WDT_HW_FALLBACK. */
&wdt31 {
	status = "okay";
};
```

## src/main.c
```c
/*
 * Copyright (c) 2026 Nordic Semiconductor ASA
 *
 * SPDX-License-Identifier: LicenseRef-Nordic-5-Clause
 */

#include <zephyr/kernel.h>
#include <zephyr/logging/log.h>
#include <zephyr/logging/log_ctrl.h>
#include <zephyr/zbus/zbus.h>
#include <zephyr/task_wdt/task_wdt.h>
#include <zephyr/smf.h>
#include <zephyr/sys/reboot.h>
#include <date_time.h>
#include <stdio.h>

#include "app_common.h"
#include "modules/network/network.h"
#include "modules/cloud/cloud.h"

#if defined(CONFIG_APP_FOTA)
#include "modules/fota/fota.h"
#endif /* CONFIG_APP_FOTA */

#if defined(CONFIG_APP_LOCATION)
#include "modules/location/location.h"
#endif /* CONFIG_APP_LOCATION */

LOG_MODULE_REGISTER(main, CONFIG_APP_MAIN_LOG_LEVEL);

BUILD_ASSERT(CONFIG_APP_MAIN_WATCHDOG_TIMEOUT_SECONDS >
	     CONFIG_APP_MAIN_MSG_PROCESSING_TIMEOUT_SECONDS,
	     "Watchdog timeout must be greater than maximum message processing time");

ZBUS_MSG_SUBSCRIBER_DEFINE(main_subscriber);

/* Private channel message types for internal state management. */
enum priv_main_msg_type {
	MAIN_PRIV_CLOUD_SYNCHRONIZATION,
};

struct priv_main_msg {
	enum priv_main_msg_type type;
};

ZBUS_CHAN_DEFINE(main_priv_chan,
		 struct priv_main_msg,
		 NULL,
		 NULL,
		 ZBUS_OBSERVERS_EMPTY,
		 ZBUS_MSG_INIT(0)
);

/* Define the channels that the module subscribes to, their associated message types
 * and the subscriber that will receive the messages on the channel.
 */
#define CHANNEL_LIST(X) \
	X(network_chan, struct network_msg) \
	X(cloud_chan, struct cloud_msg) \
	IF_ENABLED(CONFIG_APP_FOTA, (X(fota_chan, struct fota_msg))) \
	IF_ENABLED(CONFIG_APP_LOCATION, (X(location_chan, struct location_msg))) \
	X(main_priv_chan, struct priv_main_msg)

/* Calculate the maximum message size from the list of channels */
#define MAX_MSG_SIZE		    MAX_MSG_SIZE_FROM_LIST(CHANNEL_LIST)

/* Add main_subscriber as observer to all the channels in the list. */
#define ADD_OBSERVERS(_chan, _type) ZBUS_CHAN_ADD_OBS(_chan, main_subscriber, 0);

/* Expand to a call to ZBUS_CHAN_ADD_OBS for each channel in the list. */
CHANNEL_LIST(ADD_OBSERVERS)

/** Demo cloud payload template */
#define DEMO_CLOUD_PAYLOAD_FMT \
	"{\"appId\":\"SMHA\",\"messageType\":\"DATA\",\"data\":\"hello\",\"timestamp\":%lld}"

/** Application SMF states. */
enum main_app_state {
	/**
	 * Top-level state.
	 * The initial substate is @ref STATE_CLOUD_DISCONNECTED.
	 */
	STATE_RUNNING,
		/**
		 * Cloud is not connected. Periodic cloud synchronization is not
		 * scheduled, and synchronization triggers are ignored.
		 */
		STATE_CLOUD_DISCONNECTED,
		/**
		 * Cloud is connected. Periodic synchronization is scheduled on the
		 * dedicated cloud-sync workqueue.
		 *
		 * The initial substate is @ref STATE_SYNC_IDLE. Each synchronization
		 * advances through the sync substates in order, waiting for each step
		 * to complete before starting the next.
		 */
		STATE_CLOUD_CONNECTED,
			/** Waiting for the next synchronization trigger. */
			STATE_SYNC_IDLE,
			/** Sending the demo cloud payload. */
			STATE_SYNC_DEMO,
#if defined(CONFIG_APP_LOCATION)
			/** Scanning for Wi-Fi access points and resolving location. */
			STATE_SYNC_LOCATION,
#endif /* CONFIG_APP_LOCATION */
			/** Polling the device shadow. */
			STATE_SYNC_SHADOW,
#if defined(CONFIG_APP_FOTA)
			/** Polling for a FOTA job. */
			STATE_SYNC_FOTA,
#endif /* CONFIG_APP_FOTA */
			/** Posting pending Memfault data. */
			STATE_SYNC_MEMFAULT,
#if defined(CONFIG_APP_FOTA)
		/**
		 * A FOTA download is in progress. Cloud state at entry is saved in
		 * @ref main_state::cloud_history for restore on @ref FOTA_ABORTED.
		 */
		STATE_FOTA,
	/**
	 * FOTA completed; application cleanup runs before reboot.
	 */
	STATE_REBOOTING,
#endif /* CONFIG_APP_FOTA */
};

/* State object for the main module.
 * Used to transfer data between state changes.
 */
struct main_state {
	struct smf_ctx ctx;
	const struct zbus_channel *chan;
	uint8_t msg_buf[MAX_MSG_SIZE];
	struct k_work_delayable cloud_sync_dwork;
	/** Cloud state to restore after @ref FOTA_ABORTED. */
	enum main_app_state cloud_history;
};

static struct main_state main_state;
static const struct smf_state states[];

/** Cloud synchronization workqueue */
static K_THREAD_STACK_DEFINE(cloud_sync_workq_stack,
			     CONFIG_APP_MAIN_CLOUD_SYNC_WORKQ_STACK_SIZE);
static struct k_work_q cloud_sync_workq;

/** Forward declarations */

static void state_running_entry(void *obj);
static enum smf_state_result state_running_run(void *obj);
static void state_cloud_disconnected_entry(void *obj);
static enum smf_state_result state_cloud_disconnected_run(void *obj);
static void state_cloud_disconnected_exit(void *obj);
static void state_cloud_connected_entry(void *obj);
static enum smf_state_result state_cloud_connected_run(void *obj);
static void state_cloud_connected_exit(void *obj);
static void state_sync_idle_entry(void *obj);
static enum smf_state_result state_sync_idle_run(void *obj);
static void state_sync_demo_entry(void *obj);
static enum smf_state_result state_sync_demo_run(void *obj);

#if defined(CONFIG_APP_LOCATION)
static void state_sync_location_entry(void *obj);
static enum smf_state_result state_sync_location_run(void *obj);

#endif /* CONFIG_APP_LOCATION */
static void state_sync_shadow_entry(void *obj);
static enum smf_state_result state_sync_shadow_run(void *obj);

#if defined(CONFIG_APP_FOTA)
static void state_sync_fota_entry(void *obj);
static enum smf_state_result state_sync_fota_run(void *obj);
#endif /* CONFIG_APP_FOTA */

static void state_sync_memfault_entry(void *obj);
static enum smf_state_result state_sync_memfault_run(void *obj);

#if defined(CONFIG_APP_FOTA)
static void state_fota_entry(void *obj);
static enum smf_state_result state_fota_run(void *obj);
static void state_rebooting_entry(void *obj);
#endif /* CONFIG_APP_FOTA */

/** SMF state table */
static const struct smf_state states[] = {
	[STATE_RUNNING] =
		SMF_CREATE_STATE(state_running_entry,
				 state_running_run,
				 NULL,
				 NULL,
				 &states[STATE_CLOUD_DISCONNECTED]),
	[STATE_CLOUD_DISCONNECTED] =
		SMF_CREATE_STATE(state_cloud_disconnected_entry,
				 state_cloud_disconnected_run,
				 state_cloud_disconnected_exit,
				 &states[STATE_RUNNING],
				 NULL),
	[STATE_CLOUD_CONNECTED] =
		SMF_CREATE_STATE(state_cloud_connected_entry,
				 state_cloud_connected_run,
				 state_cloud_connected_exit,
				 &states[STATE_RUNNING],
				 &states[STATE_SYNC_IDLE]),
	[STATE_SYNC_IDLE] =
		SMF_CREATE_STATE(state_sync_idle_entry,
				 state_sync_idle_run,
				 NULL,
				 &states[STATE_CLOUD_CONNECTED],
				 NULL),
	[STATE_SYNC_DEMO] =
		SMF_CREATE_STATE(state_sync_demo_entry,
				 state_sync_demo_run,
				 NULL,
				 &states[STATE_CLOUD_CONNECTED],
				 NULL),
#if defined(CONFIG_APP_LOCATION)
	[STATE_SYNC_LOCATION] =
		SMF_CREATE_STATE(state_sync_location_entry,
				 state_sync_location_run,
				 NULL,
				 &states[STATE_CLOUD_CONNECTED],
				 NULL),
#endif /* CONFIG_APP_LOCATION */
	[STATE_SYNC_SHADOW] =
		SMF_CREATE_STATE(state_sync_shadow_entry,
				 state_sync_shadow_run,
				 NULL,
				 &states[STATE_CLOUD_CONNECTED],
				 NULL),
#if defined(CONFIG_APP_FOTA)
	[STATE_SYNC_FOTA] =
		SMF_CREATE_STATE(state_sync_fota_entry,
				 state_sync_fota_run,
				 NULL,
				 &states[STATE_CLOUD_CONNECTED],
				 NULL),
#endif /* CONFIG_APP_FOTA */
	[STATE_SYNC_MEMFAULT] =
		SMF_CREATE_STATE(state_sync_memfault_entry,
				 state_sync_memfault_run,
				 NULL,
				 &states[STATE_CLOUD_CONNECTED],
				 NULL),
#if defined(CONFIG_APP_FOTA)
	[STATE_FOTA] =
		SMF_CREATE_STATE(state_fota_entry,
				 state_fota_run,
				 NULL,
				 &states[STATE_RUNNING],
				 NULL),
	[STATE_REBOOTING] =
		SMF_CREATE_STATE(state_rebooting_entry,
				 NULL, NULL, NULL, NULL),
#endif /* CONFIG_APP_FOTA */
};

/** Convenience functions */

static void demo_cloud_message_send(void)
{
	int err;
	int64_t unix_time_ms;
	struct cloud_msg msg = {
		.type = CLOUD_MESSAGE_SEND,
	};

	err = date_time_now(&unix_time_ms);
	if (err) {
		LOG_ERR("date_time_now, error: %d", err);
		FATAL_ERROR();
	}

	err = snprintk(msg.payload, sizeof(msg.payload), DEMO_CLOUD_PAYLOAD_FMT,
		       (long long)unix_time_ms);
	if (err < 0 || err >= (int)sizeof(msg.payload)) {
		LOG_ERR("Demo payload formatting failed, error: %d", err);
		FATAL_ERROR();
	}

	msg.payload_len = (size_t)err;
	LOG_INF("Sending demo cloud payload: %s", msg.payload);

	err = zbus_chan_pub(&cloud_chan, &msg, PUB_TIMEOUT);
	if (err) {
		LOG_ERR("zbus_chan_pub, error: %d", err);
		FATAL_ERROR();
	}
}

static void cloud_connect_request(void)
{
	int err;
	struct cloud_msg msg = {
		.type = CLOUD_CONNECT
	};

	err = zbus_chan_pub(&cloud_chan, &msg, PUB_TIMEOUT);
	if (err) {
		LOG_ERR("zbus_chan_pub, error: %d", err);
		FATAL_ERROR();
	}
}

static void cloud_disconnect_request(void)
{
	int err;
	struct cloud_msg msg = {
		.type = CLOUD_DISCONNECT
	};

	err = zbus_chan_pub(&cloud_chan, &msg, PUB_TIMEOUT);
	if (err) {
		LOG_ERR("zbus_chan_pub, error: %d", err);
		FATAL_ERROR();
	}
}

#if defined(CONFIG_APP_LOCATION)
static void location_search_request(void)
{
	int err;
	struct location_msg msg = {
		.type = LOCATION_SEARCH_TRIGGER
	};

	err = zbus_chan_pub(&location_chan, &msg, PUB_TIMEOUT);
	if (err) {
		LOG_ERR("zbus_chan_pub, error: %d", err);
		FATAL_ERROR();
	}
}

static void location_request_forward(const struct location_cloud_request_data *request)
{
	int err;
	struct cloud_msg msg = {
		.type = CLOUD_LOCATION_REQUEST
	};

	msg.location_request = *request;

	err = zbus_chan_pub(&cloud_chan, &msg, PUB_TIMEOUT);
	if (err) {
		LOG_ERR("zbus_chan_pub, error: %d", err);
		FATAL_ERROR();
	}
}
#endif /* CONFIG_APP_LOCATION */

#if defined(CONFIG_APP_FOTA)
static void fota_poll_request(void)
{
	int err;
	struct fota_msg fota_msg = {
		.type = FOTA_POLL_REQUEST
	};

	err = zbus_chan_pub(&fota_chan, &fota_msg, PUB_TIMEOUT);
	if (err) {
		LOG_ERR("zbus_chan_pub, error: %d", err);
		FATAL_ERROR();
	}
}
#endif /* CONFIG_APP_FOTA */

static void shadow_poll_request(void)
{
	int err;
	struct cloud_msg msg = {
		.type = CLOUD_SHADOW_POLL_REQUEST
	};

	err = zbus_chan_pub(&cloud_chan, &msg, PUB_TIMEOUT);
	if (err) {
		LOG_ERR("zbus_chan_pub, error: %d", err);
		FATAL_ERROR();
	}
}

static void memfault_post_request(void)
{
	int err;
	struct cloud_msg msg = {
		.type = CLOUD_MEMFAULT_POST_REQUEST
	};

	err = zbus_chan_pub(&cloud_chan, &msg, PUB_TIMEOUT);
	if (err) {
		LOG_ERR("zbus_chan_pub, error: %d", err);
		FATAL_ERROR();
	}
}

static void cloud_sync_schedule(struct main_state *state)
{
	int err;

	err = k_work_schedule_for_queue(&cloud_sync_workq, &state->cloud_sync_dwork,
					K_SECONDS(CONFIG_APP_MAIN_SYNC_INTERVAL_SECONDS));
	if (err < 0) {
		LOG_ERR("k_work_schedule_for_queue, error: %d", err);
		FATAL_ERROR();
	}
}

static void cloud_sync_cancel(struct main_state *state)
{
	(void)k_work_cancel_delayable(&state->cloud_sync_dwork);
}

static void cloud_sync_delayed_work_handler(struct k_work *work)
{
	struct k_work_delayable *dwork = k_work_delayable_from_work(work);
	struct main_state *state = CONTAINER_OF(dwork, struct main_state, cloud_sync_dwork);
	int err;
	struct priv_main_msg msg = {
		.type = MAIN_PRIV_CLOUD_SYNCHRONIZATION
	};

	err = zbus_chan_pub(&main_priv_chan, &msg, PUB_TIMEOUT);
	if (err) {
		LOG_ERR("zbus_chan_pub main_priv_chan, error: %d", err);
		FATAL_ERROR();
	}

	cloud_sync_schedule(state);
}

#if defined(CONFIG_APP_FOTA)
static void fota_running_state_restore(struct main_state *state_object)
{
	if (state_object->cloud_history == STATE_CLOUD_CONNECTED) {
		smf_set_state(SMF_CTX(state_object), &states[STATE_CLOUD_CONNECTED]);
	} else {
		smf_set_state(SMF_CTX(state_object), &states[STATE_CLOUD_DISCONNECTED]);
	}
}
#endif /* CONFIG_APP_FOTA */

/** SMF state functions */

static void state_running_entry(void *obj)
{
	ARG_UNUSED(obj);

	LOG_INF("state_running_entry");
}

static enum smf_state_result state_running_run(void *obj)
{
	struct main_state *state_object = obj;

	if (state_object->chan == &network_chan) {
		const struct network_msg *msg =
			(const struct network_msg *)state_object->msg_buf;

		if (msg->type == NETWORK_CONNECTED) {
			LOG_INF("Network connected");
			cloud_connect_request();
		} else if (msg->type == NETWORK_DISCONNECTED) {
			LOG_INF("Network disconnected");
			cloud_disconnect_request();
		}

		return SMF_EVENT_HANDLED;
	}

#if defined(CONFIG_APP_LOCATION)
	if (state_object->chan == &location_chan) {
		const struct location_msg *msg =
			(const struct location_msg *)state_object->msg_buf;

		if (msg->type == LOCATION_CLOUD_REQUEST) {
			location_request_forward(&msg->cloud_request);
		}

		return SMF_EVENT_HANDLED;
	}
#endif /* CONFIG_APP_LOCATION */

#if defined(CONFIG_APP_FOTA)
	if (state_object->chan == &fota_chan) {
		const struct fota_msg *msg = (const struct fota_msg *)state_object->msg_buf;

		if (msg->type == FOTA_STARTING) {
			LOG_INF("FOTA download starting");
			smf_set_state(SMF_CTX(state_object), &states[STATE_FOTA]);

			return SMF_EVENT_HANDLED;
		}
	}
#endif /* CONFIG_APP_FOTA */

	return SMF_EVENT_PROPAGATE;
}

static void state_cloud_disconnected_entry(void *obj)
{
	struct main_state *state_object = obj;

	LOG_INF("state_cloud_disconnected_entry");

	state_object->cloud_history = STATE_CLOUD_DISCONNECTED;
}

static void state_cloud_disconnected_exit(void *obj)
{
	ARG_UNUSED(obj);

	LOG_INF("state_cloud_disconnected_exit");
}

static enum smf_state_result state_cloud_disconnected_run(void *obj)
{
	struct main_state *state_object = obj;

	if (state_object->chan == &cloud_chan) {
		const struct cloud_msg *msg = (const struct cloud_msg *)state_object->msg_buf;

		if (msg->type == CLOUD_CONNECTED) {
			LOG_INF("Cloud connected");

			smf_set_state(SMF_CTX(state_object), &states[STATE_CLOUD_CONNECTED]);

			return SMF_EVENT_HANDLED;
		}
	}

	return SMF_EVENT_PROPAGATE;
}

static void state_cloud_connected_entry(void *obj)
{
	struct main_state *state_object = obj;

	LOG_INF("state_cloud_connected_entry");

	state_object->cloud_history = STATE_CLOUD_CONNECTED;
	cloud_sync_schedule(state_object);

	/* Synchronize once immediately so connecting always syncs without waiting a period. */
	smf_set_state(SMF_CTX(state_object), &states[STATE_SYNC_DEMO]);
}

static void state_cloud_connected_exit(void *obj)
{
	struct main_state *state_object = obj;

	LOG_INF("state_cloud_connected_exit");

	cloud_sync_cancel(state_object);
}

static enum smf_state_result state_cloud_connected_run(void *obj)
{
	struct main_state *state_object = obj;

	if (state_object->chan == &cloud_chan) {
		const struct cloud_msg *msg = (const struct cloud_msg *)state_object->msg_buf;

		if (msg->type == CLOUD_DISCONNECTED) {
			LOG_INF("Cloud disconnected");

			smf_set_state(SMF_CTX(state_object), &states[STATE_CLOUD_DISCONNECTED]);

			return SMF_EVENT_HANDLED;
		}
	}

	return SMF_EVENT_PROPAGATE;
}

static void state_sync_idle_entry(void *obj)
{
	struct main_state *state_object = obj;

	cloud_sync_schedule(state_object);
}

static enum smf_state_result state_sync_idle_run(void *obj)
{
	struct main_state *state_object = obj;

	if (state_object->chan == &main_priv_chan) {
		const struct priv_main_msg *msg =
			(const struct priv_main_msg *)state_object->msg_buf;

		if (msg->type == MAIN_PRIV_CLOUD_SYNCHRONIZATION) {
			smf_set_state(SMF_CTX(state_object), &states[STATE_SYNC_DEMO]);

			return SMF_EVENT_HANDLED;
		}
	}

	return SMF_EVENT_PROPAGATE;
}

static void state_sync_demo_entry(void *obj)
{
	ARG_UNUSED(obj);

	LOG_INF("state_sync_demo_entry");

	demo_cloud_message_send();
}

static enum smf_state_result state_sync_demo_run(void *obj)
{
	struct main_state *state_object = obj;

	if (state_object->chan == &cloud_chan) {
		const struct cloud_msg *msg = (const struct cloud_msg *)state_object->msg_buf;

		if (msg->type == CLOUD_MESSAGE_SENT) {
#if defined(CONFIG_APP_LOCATION)
			smf_set_state(SMF_CTX(state_object), &states[STATE_SYNC_LOCATION]);
#else
			smf_set_state(SMF_CTX(state_object), &states[STATE_SYNC_SHADOW]);
#endif /* CONFIG_APP_LOCATION */

			return SMF_EVENT_HANDLED;
		}
	}

	return SMF_EVENT_PROPAGATE;
}

#if defined(CONFIG_APP_LOCATION)
static void state_sync_location_entry(void *obj)
{
	ARG_UNUSED(obj);

	LOG_INF("state_sync_location_entry");

	location_search_request();
}

static enum smf_state_result state_sync_location_run(void *obj)
{
	struct main_state *state_object = obj;

	if (state_object->chan == &location_chan) {
		const struct location_msg *msg =
			(const struct location_msg *)state_object->msg_buf;

		if (msg->type == LOCATION_SEARCH_DONE) {
			smf_set_state(SMF_CTX(state_object), &states[STATE_SYNC_SHADOW]);

			return SMF_EVENT_HANDLED;
		}
	}

	return SMF_EVENT_PROPAGATE;
}
#endif /* CONFIG_APP_LOCATION */

static void state_sync_shadow_entry(void *obj)
{
	ARG_UNUSED(obj);

	LOG_INF("state_sync_shadow_entry");

	shadow_poll_request();
}

static enum smf_state_result state_sync_shadow_run(void *obj)
{
	struct main_state *state_object = obj;

	if (state_object->chan == &cloud_chan) {
		const struct cloud_msg *msg = (const struct cloud_msg *)state_object->msg_buf;

		if (msg->type == CLOUD_SHADOW_POLLED) {
#if defined(CONFIG_APP_FOTA)
			smf_set_state(SMF_CTX(state_object), &states[STATE_SYNC_FOTA]);
#else
			smf_set_state(SMF_CTX(state_object), &states[STATE_SYNC_MEMFAULT]);
#endif /* CONFIG_APP_FOTA */

			return SMF_EVENT_HANDLED;
		}
	}

	return SMF_EVENT_PROPAGATE;
}

#if defined(CONFIG_APP_FOTA)
static void state_sync_fota_entry(void *obj)
{
	struct main_state *state_object = obj;

	LOG_INF("state_sync_fota_entry");

	/* FOTA poll and download can run for minutes; stop the sync timer so
	 * demo/shadow/memfault CoAP traffic does not contend with the download.
	 */
	cloud_sync_cancel(state_object);
	fota_poll_request();
}

static enum smf_state_result state_sync_fota_run(void *obj)
{
	struct main_state *state_object = obj;

	if (state_object->chan == &fota_chan) {
		const struct fota_msg *msg = (const struct fota_msg *)state_object->msg_buf;

		/* FOTA_STARTING propagates to STATE_RUNNING, which enters STATE_FOTA. */
		if (msg->type == FOTA_ABORTED) {
			smf_set_state(SMF_CTX(state_object), &states[STATE_SYNC_MEMFAULT]);

			return SMF_EVENT_HANDLED;
		}
	}

	return SMF_EVENT_PROPAGATE;
}
#endif /* CONFIG_APP_FOTA */

static void state_sync_memfault_entry(void *obj)
{
	ARG_UNUSED(obj);

	LOG_INF("state_sync_memfault_entry");

	memfault_post_request();
}

static enum smf_state_result state_sync_memfault_run(void *obj)
{
	struct main_state *state_object = obj;

	if (state_object->chan == &cloud_chan) {
		const struct cloud_msg *msg = (const struct cloud_msg *)state_object->msg_buf;

		if (msg->type == CLOUD_MEMFAULT_POSTED) {
			smf_set_state(SMF_CTX(state_object), &states[STATE_SYNC_IDLE]);

			return SMF_EVENT_HANDLED;
		}
	}

	return SMF_EVENT_PROPAGATE;
}

#if defined(CONFIG_APP_FOTA)
static void state_fota_entry(void *obj)
{
	struct main_state *state_object = obj;

	LOG_INF("state_fota_entry");
	cloud_sync_cancel(state_object);
}

static enum smf_state_result state_fota_run(void *obj)
{
	struct main_state *state_object = obj;

	if (state_object->chan == &fota_chan) {
		const struct fota_msg *msg = (const struct fota_msg *)state_object->msg_buf;

		if (msg->type == FOTA_ABORTED) {
			LOG_INF("FOTA download aborted");
			fota_running_state_restore(state_object);

			return SMF_EVENT_HANDLED;
		} else if (msg->type == FOTA_REBOOT_REQUEST) {
			smf_set_state(SMF_CTX(state_object), &states[STATE_REBOOTING]);

			return SMF_EVENT_HANDLED;
		}
	} else if (state_object->chan == &cloud_chan) {
		const struct cloud_msg *msg = (const struct cloud_msg *)state_object->msg_buf;

		if (msg->type == CLOUD_DISCONNECTED) {
			state_object->cloud_history = STATE_CLOUD_DISCONNECTED;

			return SMF_EVENT_HANDLED;
		}
	}

	return SMF_EVENT_PROPAGATE;
}

static void state_rebooting_entry(void *obj)
{
	ARG_UNUSED(obj);

	LOG_INF("state_rebooting_entry");
	LOG_INF("FOTA successful, rebooting to apply the update");
	LOG_PANIC();

	sys_reboot(SYS_REBOOT_COLD);
}
#endif /* CONFIG_APP_FOTA */

static void main_wdt_callback(int channel_id, void *user_data)
{
	LOG_ERR("Main watchdog expired, channel: %d, thread: %s",
		channel_id, k_thread_name_get((k_tid_t)user_data));

	FATAL_ERROR_WATCHDOG_TIMEOUT();
}

int main(void)
{
	int err;
	int task_wdt_id;
	const uint32_t wdt_timeout_ms =
		(CONFIG_APP_MAIN_WATCHDOG_TIMEOUT_SECONDS * MSEC_PER_SEC);
	const uint32_t execution_time_ms =
		(CONFIG_APP_MAIN_MSG_PROCESSING_TIMEOUT_SECONDS * MSEC_PER_SEC);
	const k_timeout_t zbus_wait = K_MSEC(wdt_timeout_ms - execution_time_ms);
	struct k_work_queue_config cloud_sync_workq_cfg = {
		.name = "cloud_sync",
	};

	k_work_queue_init(&cloud_sync_workq);
	k_work_queue_start(&cloud_sync_workq,
			   cloud_sync_workq_stack,
			   K_THREAD_STACK_SIZEOF(cloud_sync_workq_stack),
			   CONFIG_APP_MAIN_CLOUD_SYNC_WORKQ_PRIORITY,
			   &cloud_sync_workq_cfg);
	k_work_init_delayable(&main_state.cloud_sync_dwork, cloud_sync_delayed_work_handler);

	err = task_wdt_init(DEVICE_DT_GET(DT_ALIAS(watchdog0)));
	if (err) {
		LOG_ERR("task_wdt_init, error: %d", err);
		FATAL_ERROR();
		return -EFAULT;
	}

	task_wdt_id = task_wdt_add(wdt_timeout_ms, main_wdt_callback, (void *)k_current_get());
	if (task_wdt_id < 0) {
		LOG_ERR("Failed to add task to watchdog: %d", task_wdt_id);
		FATAL_ERROR();
		return -EFAULT;
	}

	smf_set_initial(SMF_CTX(&main_state), &states[STATE_RUNNING]);

	while (true) {
		err = task_wdt_feed(task_wdt_id);
		if (err) {
			LOG_ERR("task_wdt_feed, error: %d", err);
			FATAL_ERROR();
			return -EFAULT;
		}

		err = zbus_sub_wait_msg(&main_subscriber, &main_state.chan,
					main_state.msg_buf, zbus_wait);
		if (err == -ENOMSG) {
			continue;
		} else if (err) {
			LOG_ERR("zbus_sub_wait_msg, error: %d", err);
			FATAL_ERROR();
			return -EFAULT;
		}

		err = smf_run_state(SMF_CTX(&main_state));
		if (err) {
			LOG_ERR("smf_run_state(), error: %d", err);
			FATAL_ERROR();
			return -EFAULT;
		}
	}

	return 0;
}
```

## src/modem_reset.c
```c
/*
 * Copyright (c) 2026 Nordic Semiconductor ASA
 *
 * SPDX-License-Identifier: LicenseRef-Nordic-5-Clause
 */

#include <zephyr/devicetree.h>
#include <zephyr/drivers/gpio.h>
#include <zephyr/init.h>
#include <zephyr/kernel.h>

#include "app_common.h"

#define MODEM_NODE DT_ALIAS(modem)

#if DT_NODE_HAS_PROP(MODEM_NODE, mdm_reset_gpios)

#define MODEM_RESET_PULSE_MS 500
#define MODEM_STARTUP_TIME_MS 2000

static int modem_reset_on_host_boot(void)
{
	const struct gpio_dt_spec reset = GPIO_DT_SPEC_GET(MODEM_NODE, mdm_reset_gpios);
	int err;

	if (!gpio_is_ready_dt(&reset)) {
		FATAL_ERROR();
		return -ENODEV;
	}

	err = gpio_pin_configure_dt(&reset, GPIO_OUTPUT_INACTIVE);
	if (err != 0) {
		FATAL_ERROR();
		return err;
	}

	gpio_pin_set_dt(&reset, 1);
	k_msleep(MODEM_RESET_PULSE_MS);
	gpio_pin_set_dt(&reset, 0);
	k_msleep(MODEM_STARTUP_TIME_MS);

	return 0;
}

SYS_INIT(modem_reset_on_host_boot, POST_KERNEL, 50);

#endif
```
